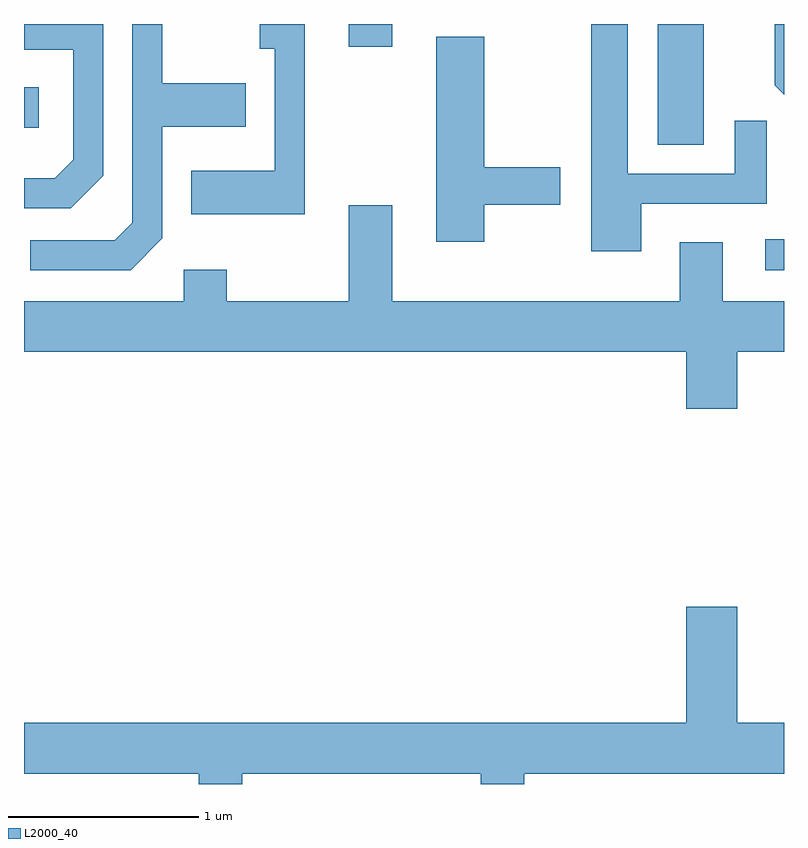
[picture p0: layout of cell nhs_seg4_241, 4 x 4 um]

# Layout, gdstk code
import gdstk
lib = gdstk.Library(unit=1e-6, precision=1e-09)
def R(c, l, rs):  # rectangles x0, y0, x1, y1
    for r in rs: c.add(gdstk.rectangle(r[:2], r[2:], *l))
def P(c, l, *ps):  # polygons
    for p in ps: c.add(gdstk.Polygon(p, *l))
L2000_40 = (2000, 40)

nhs_seg4_241 = lib.new_cell('nhs_seg4_241')
R(nhs_seg4_241, L2000_40, [(195.513,1330.686,195.611,1330.849), (194.946,1331.346,195.189,1331.982), (191.611,1331.436,191.689,1331.649), (193.321,1331.861,193.549,1331.982)])
P(nhs_seg4_241, L2000_40, [(194.859,1331.036),(195.519,1331.036),(195.519,1331.473),(195.351,1331.473),(195.351,1331.194),(194.789,1331.194),(194.789,1331.982),(194.596,1331.982),(194.596,1330.786),(194.859,1330.786)],
  [(195.611,1331.982),(195.561,1331.982),(195.561,1331.659),(195.611,1331.609)],
  [(192.339,1330.854),(192.339,1331.441),(192.779,1331.441),(192.779,1331.669),(192.339,1331.669),(192.339,1331.982),(192.181,1331.982),(192.181,1330.937),(192.089,1330.844),(191.643,1330.844),(191.643,1330.686),(192.172,1330.686)],
  [(192.029,1331.184),(192.029,1331.982),(191.611,1331.982),(191.611,1331.846),(191.871,1331.846),(191.871,1331.267),(191.774,1331.169),(191.611,1331.169),(191.611,1331.011),(191.857,1331.011)],
  [(193.089,1331.982),(192.853,1331.982),(192.853,1331.851),(192.931,1331.851),(192.931,1331.209),(192.491,1331.209),(192.491,1330.981),(193.089,1330.981)],
  [(194.034,1331.031),(194.434,1331.031),(194.434,1331.229),(194.034,1331.229),(194.034,1331.914),(193.781,1331.914),(193.781,1330.836),(194.034,1330.836)],
  [(195.364,1330.256),(195.611,1330.256),(195.611,1330.524),(195.289,1330.524),(195.289,1330.834),(195.061,1330.834),(195.061,1330.524),(193.549,1330.524),(193.549,1331.029),(193.321,1331.029),(193.321,1330.524),(192.679,1330.524),(192.679,1330.689),(192.451,1330.689),(192.451,1330.524),(191.611,1330.524),(191.611,1330.256),(195.096,1330.256),(195.096,1329.956),(195.364,1329.956)],
  [(192.759,1328.036),(194.016,1328.036),(194.016,1327.982),(194.244,1327.982),(194.244,1328.036),(195.611,1328.036),(195.611,1328.304),(195.364,1328.304),(195.364,1328.914),(195.096,1328.914),(195.096,1328.304),(191.611,1328.304),(191.611,1328.036),(192.531,1328.036),(192.531,1327.982),(192.759,1327.982)])

lib.write_gds('nhs_seg4_241.gds')
